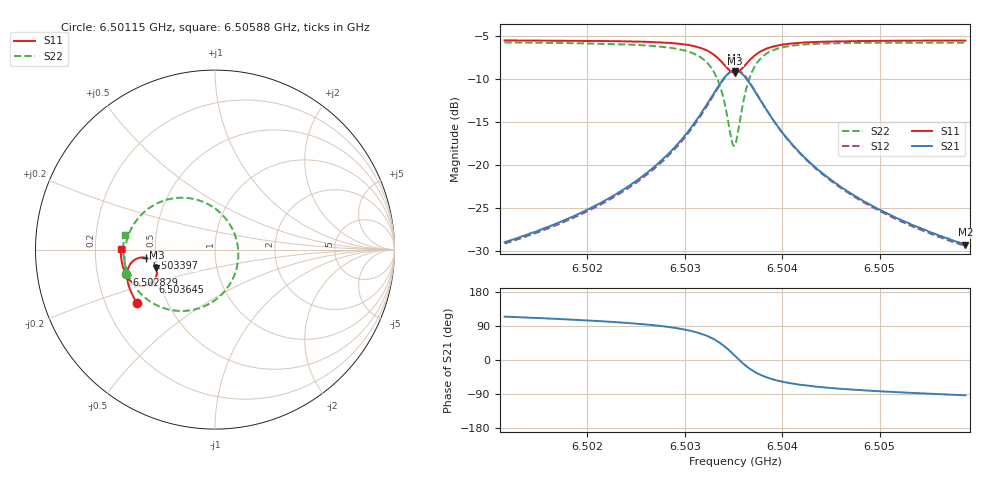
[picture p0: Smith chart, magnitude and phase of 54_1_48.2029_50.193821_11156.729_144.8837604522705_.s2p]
#  HZ  S  RI  R  50.00
! Rohde & Schwarz Vector Network Analyzer
! Rohde-Schwarz,ZNB20-2Port,1311601062101988,3.16
! Created: UTC 3/20/2024, 11:38:23 AM
! freq[Hz]  re:S11  im:S11  re:S21  im:S21  re:S12  im:S12  re:S22  im:S22
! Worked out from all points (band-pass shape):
!   401 points, 6.50115 GHz to 6.50588 GHz, reference 50 ohm
!   highest |S21| = -9.06 dB at 6.503515 GHz (marker M1); lowest = -29.3 dB at 6.50588 GHz (marker M2)
!   |S21| within 3 dB of the highest: 6.503278 GHz to 6.503751 GHz (473 kHz wide, 0.00727 % of centre)
!   lowest |S11| = -9.3 dB at 6.503515 GHz (marker M3), VSWR 2.04, Z = 25 - j5.69 ohm
!   |S11| at or under -10 dB: nowhere
!   |S22| runs from -17.8 to -5.8 dB; largest |S21 - S12| = 0.012
!   S11 on the Smith chart (normalised r, x): 6.50115 GHz: 0.34, -0.28; 6.502829 GHz: 0.33, -0.13; 6.503397 GHz: 0.45, -0.05; 6.503645 GHz: 0.46, -0.20; 6.50588 GHz: 0.31, +0.00
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6.5011503e9  -0.4353 -0.2962  -0.0147 0.0324  -0.013 0.0325  -0.4949 -0.135
6.5019426e9  -0.468 -0.2358  -0.014 0.0513  -0.0113 0.0506  -0.5045 -0.047
6.5023801e9  -0.4826 -0.1955  -0.0105 0.0717  -0.00733 0.0705  -0.499 0.019
6.5027349e9  -0.4901 -0.1543  -0.000428 0.103  0.00318 0.1003  -0.4764 0.0955
6.5028295e9  -0.4903 -0.1408  0.00552 0.1154  0.00913 0.1124  -0.4636 0.1223
6.5030305e9  -0.4847 -0.1062  0.0305 0.1523  0.034 0.1473  -0.4115 0.1933
6.5031724e9  -0.4682 -0.0755  0.0723 0.1872  0.0748 0.1811  -0.3309 0.2533
6.5033025e9  -0.4307 -0.0485  0.1526 0.2134  0.1531 0.2071  -0.1844 0.2893
6.5033971e9  -0.382 -0.0464  0.2476 0.1954  0.2476 0.1908  -0.0197 0.2424
6.5034798e9  -0.3377 -0.0774  0.3283 0.1169  0.3311 0.1128  0.1092 0.0874
6.5035153e9  -0.3265 -0.1007  0.3462 0.0661  0.3502 0.0606  0.1299 -0.00876
6.5035389e9  -0.3235 -0.1177  0.3494 0.03  0.3538 0.0231  0.1265 -0.0749
6.5035744e9  -0.3259 -0.1429  0.3413 -0.0218  0.3452 -0.0312  0.097 -0.1674
6.5036454e9  -0.3491 -0.1814  0.292 -0.1009  0.2921 -0.1129  -0.0192 -0.2947
6.50374e9  -0.3914 -0.2019  0.2106 -0.1451  0.2055 -0.1557  -0.1856 -0.342
6.5038109e9  -0.4185 -0.2019  0.1611 -0.1502  0.1542 -0.1583  -0.2779 -0.3283
6.5038937e9  -0.4423 -0.1946  0.1193 -0.1438  0.1117 -0.1495  -0.3515 -0.2955
6.5040592e9  -0.4722 -0.1734  0.0697 -0.1217  0.0629 -0.1243  -0.4318 -0.2259
6.5043076e9  -0.4951 -0.1421  0.0357 -0.094  0.0307 -0.0945  -0.4808 -0.1458
6.5046623e9  -0.5109 -0.1037  0.0157 -0.0689  0.0123 -0.0685  -0.504 -0.0691
6.5050998e9  -0.5205 -0.0622  0.00554 -0.0513  0.00298 -0.0505  -0.5108 -0.00342
6.5058803e9  -0.526 0.00484  -0.00194 -0.0344  -0.00334 -0.0336  -0.5039 0.083
